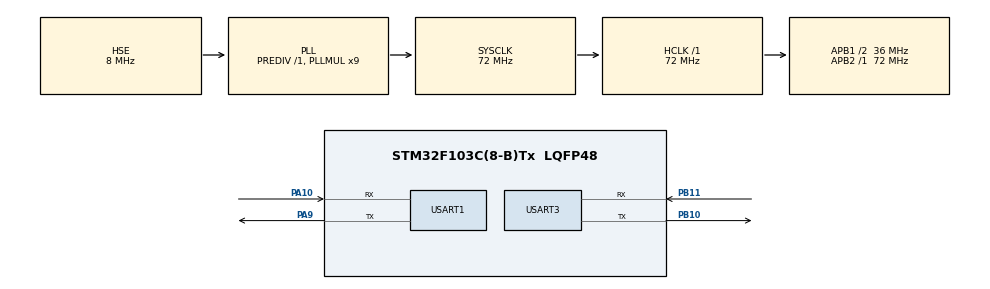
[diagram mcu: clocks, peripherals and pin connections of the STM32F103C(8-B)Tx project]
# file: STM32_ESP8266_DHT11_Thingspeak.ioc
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Mcu.Family=STM32F1
Mcu.Name=STM32F103C(8-B)Tx
Mcu.Package=LQFP48
NVIC.PriorityGroup=NVIC_PRIORITYGROUP_4
PA10.Mode=Asynchronous
PA10.Signal=USART1_RX
PA13.Mode=Serial_Wire
PA13.Signal=SYS_JTMS-SWDIO
PA14.Mode=Serial_Wire
PA14.Signal=SYS_JTCK-SWCLK
PA9.Mode=Asynchronous
PA9.Signal=USART1_TX
PB10.Mode=Asynchronous
PB10.Signal=USART3_TX
PB11.Mode=Asynchronous
PB11.Signal=USART3_RX
PD0-OSC_IN.Mode=HSE-External-Oscillator
PD0-OSC_IN.Signal=RCC_OSC_IN
PD1-OSC_OUT.Mode=HSE-External-Oscillator
PD1-OSC_OUT.Signal=RCC_OSC_OUT
ProjectManager.HeapSize=0x200
ProjectManager.StackSize=0x400
ProjectManager.TargetToolchain=STM32CubeIDE
RCC.AHBFreq_Value=72000000
RCC.APB1CLKDivider=RCC_HCLK_DIV2
RCC.APB1Freq_Value=36000000
RCC.APB1TimFreq_Value=72000000
RCC.APB2Freq_Value=72000000
RCC.APB2TimFreq_Value=72000000
RCC.HCLKFreq_Value=72000000
RCC.PLLMUL=RCC_PLL_MUL9
RCC.PLLSourceVirtual=RCC_PLLSOURCE_HSE
RCC.SYSCLKFreq_VALUE=72000000
RCC.SYSCLKSource=RCC_SYSCLKSOURCE_PLLCLK
RCC.USBFreq_Value=72000000
USART1.VirtualMode=VM_ASYNC
USART3.VirtualMode=VM_ASYNC
board=custom

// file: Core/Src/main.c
/* USER CODE BEGIN Header */
/**
 ******************************************************************************
 * @file           : main.c
 * @brief          : Main program body
 ******************************************************************************
 * @attention
 *
 * Copyright (c) 2026 STMicroelectronics.
 * All rights reserved.
 *
 * This software is licensed under terms that can be found in the LICENSE file
 * in the root directory of this software component.
 * If no LICENSE file comes with this software, it is provided AS-IS.
 *
 ******************************************************************************
 */
/* USER CODE END Header */
#include "main.h"

/* USER CODE BEGIN Includes */
#include "esp8266.h"
#include "timer3.h"
#include <stdio.h>
#include "dht11.h"
#include "dwt.h"
#include "tasks.h"
/* USER CODE END Includes */

/* USER CODE BEGIN PM */
#define THINGSSPEAK_SEND_TICKS  1500
#define DHT11_READ_TICKS        100
/* USER CODE END PM */

UART_HandleTypeDef huart1;
UART_HandleTypeDef huart3;

void SystemClock_Config(void);
static void MX_GPIO_Init(void);
static void MX_USART1_UART_Init(void);
static void MX_USART3_UART_Init(void);

/* USER CODE BEGIN 0 */
int _write(int file, char *ptr, int len)
{
  HAL_UART_Transmit(&huart3, (uint8_t*) ptr, len, 100);
  return len;
}

char ip_buf[16];

#define API_KEY "HFT599YW7PMFWYKG"

/* USER CODE END 0 */

int main(void)
{

  /* MCU Configuration--------------------------------------------------------*/

  /* Reset of all peripherals, Initializes the Flash interface and the Systick. */
  HAL_Init();

  /* Configure the system clock */
  SystemClock_Config();

  /* Initialize all configured peripherals */
  MX_GPIO_Init();
  MX_USART1_UART_Init();
  MX_USART3_UART_Init();
  /* USER CODE BEGIN 2 */
  printf("==========================================\n");
  printf("Connecting to WIFI and Getting IP Address\n");
  printf("===========================================\n");

  if(ESP_Init() != ESP8266_OK)
  {
    printf("Failed to initialize... Check Debug logs");
    Error_Handler();
  }

  if(ESP_ConnectWiFi("xxxxx", "xxxxxxx!", ip_buf, sizeof(ip_buf)) != ESP8266_OK)
  {
    printf("Failed to connect to wifi...\n");
    Error_Handler();
  }

  DWT_Init();
  DHT11_Init();

  // Loop counters
  uint16_t dht_count = 0;
  uint16_t thingspeak_count = 0;

  // Setup TIM3 for 10ms control loop
  TIMER3_SetupPeriod(10);  // 10ms period

  /* USER CODE END 2 */

  /* Infinite loop */
  while(1)
  {

    /* USER CODE BEGIN 3 */
    // Read DHT11 every 1 seconds
    if(dht_count++ >= DHT11_READ_TICKS)
    {
      Task_DHT11_Read();
      dht_count = 0;
    }

    if(thingspeak_count++ >= THINGSSPEAK_SEND_TICKS)
    {
      if(ESP_ConnState == ESP8266_CONNECTED_IP)
      {
        ESP_SendToThingSpeak(API_KEY, dht11_temperature, dht11_humidity);
      }
      thingspeak_count = 0;
    }

    TIMER3_WaitPeriod(); // Heart Beat time check
  }
  /* USER CODE END 3 */
}

void SystemClock_Config(void)
{
  RCC_OscInitTypeDef RCC_OscInitStruct = {0};
  RCC_ClkInitTypeDef RCC_ClkInitStruct = {0};

  /** Initializes the RCC Oscillators according to the specified parameters
   * in the RCC_OscInitTypeDef structure.
   */
  RCC_OscInitStruct.OscillatorType = RCC_OSCILLATORTYPE_HSE;
  RCC_OscInitStruct.HSEState = RCC_HSE_ON;
  RCC_OscInitStruct.HSEPredivValue = RCC_HSE_PREDIV_DIV1;
  RCC_OscInitStruct.HSIState = RCC_HSI_ON;
  RCC_OscInitStruct.PLL.PLLState = RCC_PLL_ON;
  RCC_OscInitStruct.PLL.PLLSource = RCC_PLLSOURCE_HSE;
  RCC_OscInitStruct.PLL.PLLMUL = RCC_PLL_MUL9;
  if(HAL_RCC_OscConfig(&RCC_OscInitStruct) != HAL_OK)
  {
    Error_Handler();
  }

  /** Initializes the CPU, AHB and APB buses clocks
   */
  RCC_ClkInitStruct.ClockType = RCC_CLOCKTYPE_HCLK | RCC_CLOCKTYPE_SYSCLK | RCC_CLOCKTYPE_PCLK1 | RCC_CLOCKTYPE_PCLK2;
  RCC_ClkInitStruct.SYSCLKSource = RCC_SYSCLKSOURCE_PLLCLK;
  RCC_ClkInitStruct.AHBCLKDivider = RCC_SYSCLK_DIV1;
  RCC_ClkInitStruct.APB1CLKDivider = RCC_HCLK_DIV2;
  RCC_ClkInitStruct.APB2CLKDivider = RCC_HCLK_DIV1;

  if(HAL_RCC_ClockConfig(&RCC_ClkInitStruct, FLASH_LATENCY_2) != HAL_OK)
  {
    Error_Handler();
  }
}

static void MX_USART1_UART_Init(void)
{

  huart1.Instance = USART1;
  huart1.Init.BaudRate = 115200;
  huart1.Init.WordLength = UART_WORDLENGTH_8B;
  huart1.Init.StopBits = UART_STOPBITS_1;
  huart1.Init.Parity = UART_PARITY_NONE;
  huart1.Init.Mode = UART_MODE_TX_RX;
  huart1.Init.HwFlowCtl = UART_HWCONTROL_NONE;
  huart1.Init.OverSampling = UART_OVERSAMPLING_16;
  if(HAL_UART_Init(&huart1) != HAL_OK)
  {
    Error_Handler();
  }

}

static void MX_USART3_UART_Init(void)
{

  huart3.Instance = USART3;
  huart3.Init.BaudRate = 115200;
  huart3.Init.WordLength = UART_WORDLENGTH_8B;
  huart3.Init.StopBits = UART_STOPBITS_1;
  huart3.Init.Parity = UART_PARITY_NONE;
  huart3.Init.Mode = UART_MODE_TX_RX;
  huart3.Init.HwFlowCtl = UART_HWCONTROL_NONE;
  huart3.Init.OverSampling = UART_OVERSAMPLING_16;
  if(HAL_UART_Init(&huart3) != HAL_OK)
  {
    Error_Handler();
  }

}

static void MX_GPIO_Init(void)
{

  /* GPIO Ports Clock Enable */
  __HAL_RCC_GPIOD_CLK_ENABLE();
  __HAL_RCC_GPIOB_CLK_ENABLE();
  __HAL_RCC_GPIOA_CLK_ENABLE();

}

void Error_Handler(void)
{
  __disable_irq();
  while(1)
  {
  }
}
